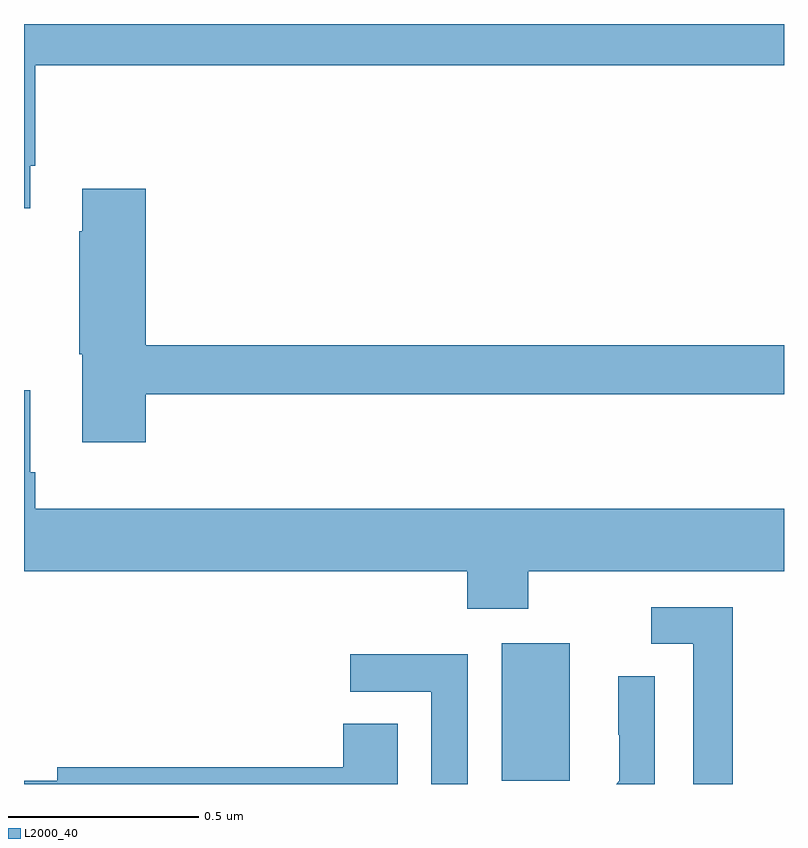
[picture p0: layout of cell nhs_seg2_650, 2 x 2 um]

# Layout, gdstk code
import gdstk
lib = gdstk.Library(unit=1e-6, precision=1e-09)
def R(c, l, rs):  # rectangles x0, y0, x1, y1
    for r in rs: c.add(gdstk.rectangle(r[:2], r[2:], *l))
def P(c, l, *ps):  # polygons
    for p in ps: c.add(gdstk.Polygon(p, *l))
L2000_40 = (2000, 40)

nhs_seg2_650 = lib.new_cell('nhs_seg2_650')
R(nhs_seg2_650, L2000_40, [(120.257,589.809,120.436,590.17)])
P(nhs_seg2_650, L2000_40, [(119.017,591.427),(119.03,591.427),(119.03,591.692),(121,591.692),(121,591.8),(119,591.8),(119,591.315),(119.017,591.315)],
  [(119.321,590.826),(121,590.826),(121,590.954),(119.321,590.954),(119.321,591.367),(119.153,591.367),(119.153,591.254),(119.146,591.254),(119.146,590.931),(119.153,590.931),(119.153,590.7),(119.321,590.7)],
  [(120.327,590.36),(121,590.36),(121,590.524),(119.03,590.524),(119.03,590.62),(119.017,590.62),(119.017,590.836),(119,590.836),(119,590.36),(120.167,590.36),(120.167,590.261),(120.327,590.261)],
  [(120.865,590.265),(120.651,590.265),(120.651,590.169),(120.761,590.169),(120.761,589.8),(120.865,589.8)],
  [(120.168,590.142),(119.859,590.142),(119.859,590.043),(120.072,590.043),(120.072,589.8),(120.168,589.8)],
  [(120.66,590.084),(120.564,590.084),(120.564,589.93),(120.566,589.93),(120.566,589.808),(120.558,589.8),(120.66,589.8)],
  [(119.983,589.958),(119.84,589.958),(119.84,589.844),(119.087,589.844),(119.087,589.808),(119,589.808),(119,589.8),(119.983,589.8)])

lib.write_gds('nhs_seg2_650.gds')
